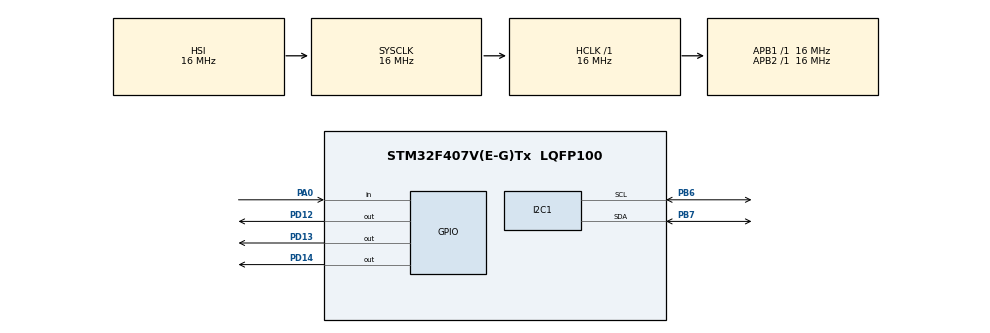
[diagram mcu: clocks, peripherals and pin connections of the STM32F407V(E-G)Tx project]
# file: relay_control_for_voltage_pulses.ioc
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I2C1.NoStretchMode=I2C_NOSTRETCH_DISABLE
Mcu.Family=STM32F4
Mcu.Name=STM32F407V(E-G)Tx
Mcu.Package=LQFP100
NVIC.PriorityGroup=NVIC_PRIORITYGROUP_4
PA0-WKUP.GPIO_PuPd=GPIO_PULLDOWN
PA0-WKUP.Signal=GPIO_Input
PB6.Mode=I2C
PB6.Signal=I2C1_SCL
PB7.Mode=I2C
PB7.Signal=I2C1_SDA
PD12.Signal=GPIO_Output
PD13.Signal=GPIO_Output
PD14.Signal=GPIO_Output
ProjectManager.HeapSize=0x200
ProjectManager.StackSize=0x400
ProjectManager.TargetToolchain=STM32CubeIDE
RCC.AHBFreq_Value=16000000
RCC.APB1Freq_Value=16000000
RCC.APB2Freq_Value=16000000
RCC.CortexFreq_Value=16000000
RCC.HSE_VALUE=25000000
RCC.HSI_VALUE=16000000
RCC.LSE_VALUE=32768
RCC.SYSCLKFreq_VALUE=16000000
RCC.VCOOutputFreq_Value=192000000
VP_TIM1_VS_ClockSourceINT.Mode=Internal
board=custom

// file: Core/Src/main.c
/* USER CODE BEGIN Header */
/**
  ******************************************************************************
  * @file           : main.c
  * @brief          : Main program body
  ******************************************************************************
  * @attention
  *
  * Copyright (c) 2025 STMicroelectronics.
  * All rights reserved.
  *
  * This software is licensed under terms that can be found in the LICENSE file
  * in the root directory of this software component.
  * If no LICENSE file comes with this software, it is provided AS-IS.
  *
  ******************************************************************************
  */
/* USER CODE END Header */
#include "main.h"
#include "stdio.h"
#include <stdbool.h>
/* USER CODE BEGIN Includes */
#include "lcd1602_i2c.h"
/* USER CODE END Includes */

I2C_HandleTypeDef hi2c1;

TIM_HandleTypeDef htim1;

/* USER CODE BEGIN PV */
extern uint8_t flag_key1_press;
extern uint8_t flag_key1_wait;
extern uint32_t time_key1_press;

extern uint8_t flag_read_button;
uint8_t button_count_P = 0;
char buffer_P [15] = {0,};
/* USER CODE END PV */

void SystemClock_Config(void);
static void MX_GPIO_Init(void);
static void MX_TIM1_Init(void);
static void MX_I2C1_Init(void);

int main(void)
{

  /* MCU Configuration--------------------------------------------------------*/

  /* Reset of all peripherals, Initializes the Flash interface and the Systick. */
  HAL_Init();

  /* USER CODE BEGIN Init */
  lcd1602_HandleTypeDef lcd1602_Handle;
  /* USER CODE END Init */

  /* Configure the system clock */
  SystemClock_Config();

  /* Initialize all configured peripherals */
  MX_GPIO_Init();
  MX_TIM1_Init();
  MX_I2C1_Init();
  /* USER CODE BEGIN 2 */
  lcd1602_Init(&lcd1602_Handle, &hi2c1, PCF8574_ADDRESS);
  lcd1602_SetCursor(&lcd1602_Handle, 0, 1);
 /* lcd1602_Print(&lcd1602_Handle, "P=80%");
  lcd1602_SetCursor(&lcd1602_Handle, 6, 1);
  lcd1602_Print(&lcd1602_Handle, "t=1ms");
  lcd1602_SetCursor(&lcd1602_Handle, 12, 1);*/

  snprintf(buffer_P, sizeof(buffer_P), "P= %d%%", button_count_P);
  lcd1602_Print(&lcd1602_Handle, buffer_P);

  /*switch(button_count){
  	  	case 1:
		lcd1602_Clear(&lcd1602_Handle);
		lcd1602_Print(&lcd1602_Handle, "P=80%");
  }*/
 // lcd1602_Clear(&lcd1602_Handle);
  /* USER CODE END 2 */

  /* Infinite loop */
  /* USER CODE BEGIN WHILE */
  while (1)
  {
	  test_read_button();

		  if(flag_read_button == 1){
			  flag_read_button = 0;
			  button_count_P = button_count_P + 5;
			  if(button_count_P > 95){button_count_P = 5;}
			  snprintf(buffer_P, sizeof(buffer_P), "P= %d%%", button_count_P);
			  lcd1602_Clear(&lcd1602_Handle);
			  lcd1602_SetCursor(&lcd1602_Handle, 0, 1);
			  lcd1602_Print(&lcd1602_Handle, buffer_P);
		  }

	  //click_action(1000, 2000, 5000, 300);

    /* USER CODE END WHILE */

  }
}

void SystemClock_Config(void)
{
  RCC_OscInitTypeDef RCC_OscInitStruct = {0};
  RCC_ClkInitTypeDef RCC_ClkInitStruct = {0};

  /** Configure the main internal regulator output voltage
  */
  __HAL_RCC_PWR_CLK_ENABLE();
  __HAL_PWR_VOLTAGESCALING_CONFIG(PWR_REGULATOR_VOLTAGE_SCALE1);

  /** Initializes the RCC Oscillators according to the specified parameters
  * in the RCC_OscInitTypeDef structure.
  */
  RCC_OscInitStruct.OscillatorType = RCC_OSCILLATORTYPE_HSI;
  RCC_OscInitStruct.HSIState = RCC_HSI_ON;
  RCC_OscInitStruct.HSICalibrationValue = RCC_HSICALIBRATION_DEFAULT;
  RCC_OscInitStruct.PLL.PLLState = RCC_PLL_NONE;
  if (HAL_RCC_OscConfig(&RCC_OscInitStruct) != HAL_OK)
  {
    Error_Handler();
  }

  /** Initializes the CPU, AHB and APB buses clocks
  */
  RCC_ClkInitStruct.ClockType = RCC_CLOCKTYPE_HCLK|RCC_CLOCKTYPE_SYSCLK
                              |RCC_CLOCKTYPE_PCLK1|RCC_CLOCKTYPE_PCLK2;
  RCC_ClkInitStruct.SYSCLKSource = RCC_SYSCLKSOURCE_HSI;
  RCC_ClkInitStruct.AHBCLKDivider = RCC_SYSCLK_DIV1;
  RCC_ClkInitStruct.APB1CLKDivider = RCC_HCLK_DIV1;
  RCC_ClkInitStruct.APB2CLKDivider = RCC_HCLK_DIV1;

  if (HAL_RCC_ClockConfig(&RCC_ClkInitStruct, FLASH_LATENCY_0) != HAL_OK)
  {
    Error_Handler();
  }
}

static void MX_I2C1_Init(void)
{

  hi2c1.Instance = I2C1;
  hi2c1.Init.ClockSpeed = 100000;
  hi2c1.Init.DutyCycle = I2C_DUTYCYCLE_2;
  hi2c1.Init.OwnAddress1 = 0;
  hi2c1.Init.AddressingMode = I2C_ADDRESSINGMODE_7BIT;
  hi2c1.Init.DualAddressMode = I2C_DUALADDRESS_DISABLE;
  hi2c1.Init.OwnAddress2 = 0;
  hi2c1.Init.GeneralCallMode = I2C_GENERALCALL_DISABLE;
  hi2c1.Init.NoStretchMode = I2C_NOSTRETCH_DISABLE;
  if (HAL_I2C_Init(&hi2c1) != HAL_OK)
  {
    Error_Handler();
  }

}

static void MX_TIM1_Init(void)
{

  TIM_ClockConfigTypeDef sClockSourceConfig = {0};
  TIM_MasterConfigTypeDef sMasterConfig = {0};

  htim1.Instance = TIM1;
  htim1.Init.Prescaler = 0;
  htim1.Init.CounterMode = TIM_COUNTERMODE_UP;
  htim1.Init.Period = 65535;
  htim1.Init.ClockDivision = TIM_CLOCKDIVISION_DIV1;
  htim1.Init.RepetitionCounter = 0;
  htim1.Init.AutoReloadPreload = TIM_AUTORELOAD_PRELOAD_DISABLE;
  if (HAL_TIM_Base_Init(&htim1) != HAL_OK)
  {
    Error_Handler();
  }
  sClockSourceConfig.ClockSource = TIM_CLOCKSOURCE_INTERNAL;
  if (HAL_TIM_ConfigClockSource(&htim1, &sClockSourceConfig) != HAL_OK)
  {
    Error_Handler();
  }
  sMasterConfig.MasterOutputTrigger = TIM_TRGO_RESET;
  sMasterConfig.MasterSlaveMode = TIM_MASTERSLAVEMODE_DISABLE;
  if (HAL_TIMEx_MasterConfigSynchronization(&htim1, &sMasterConfig) != HAL_OK)
  {
    Error_Handler();
  }

}

static void MX_GPIO_Init(void)
{
  GPIO_InitTypeDef GPIO_InitStruct = {0};

  /* GPIO Ports Clock Enable */
  __HAL_RCC_GPIOA_CLK_ENABLE();
  __HAL_RCC_GPIOD_CLK_ENABLE();
  __HAL_RCC_GPIOB_CLK_ENABLE();

  /*Configure GPIO pin Output Level */
  HAL_GPIO_WritePin(GPIOD, GPIO_PIN_12|GPIO_PIN_13|GPIO_PIN_14, GPIO_PIN_RESET);

  /*Configure GPIO pin : PA0 */
  GPIO_InitStruct.Pin = GPIO_PIN_0;
  GPIO_InitStruct.Mode = GPIO_MODE_INPUT;
  GPIO_InitStruct.Pull = GPIO_PULLDOWN;
  HAL_GPIO_Init(GPIOA, &GPIO_InitStruct);

  /*Configure GPIO pins : PD12 PD13 PD14 */
  GPIO_InitStruct.Pin = GPIO_PIN_12|GPIO_PIN_13|GPIO_PIN_14;
  GPIO_InitStruct.Mode = GPIO_MODE_OUTPUT_PP;
  GPIO_InitStruct.Pull = GPIO_NOPULL;
  GPIO_InitStruct.Speed = GPIO_SPEED_FREQ_LOW;
  HAL_GPIO_Init(GPIOD, &GPIO_InitStruct);

}

void Error_Handler(void)
{
  __disable_irq();
  while (1)
  {
  }
}
